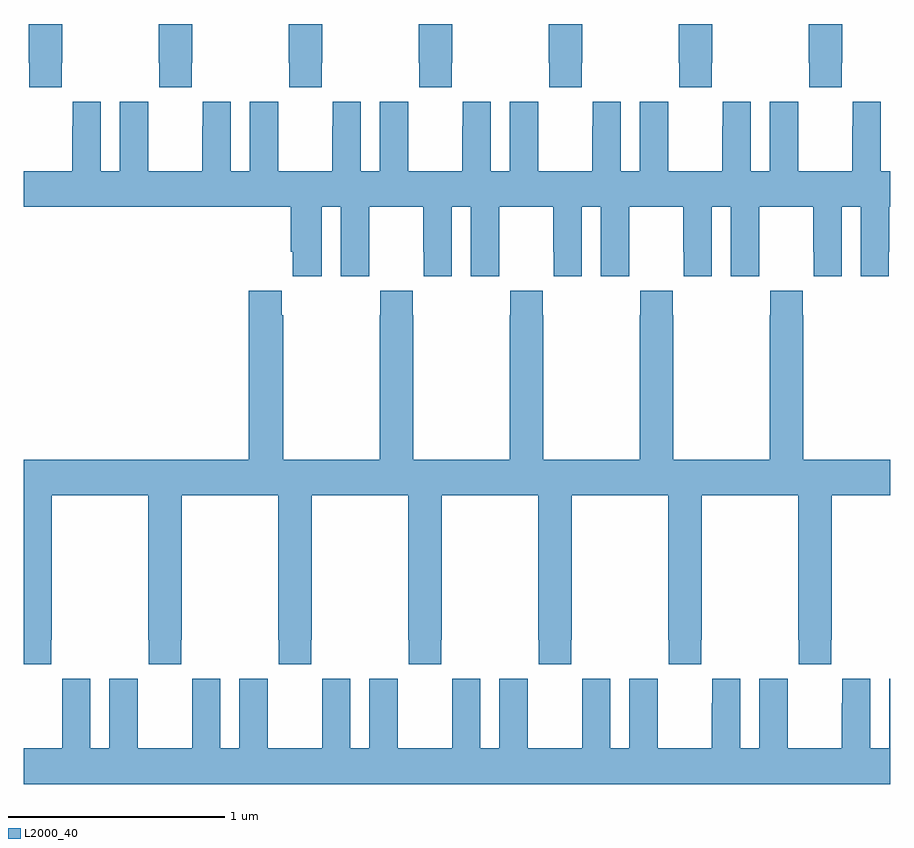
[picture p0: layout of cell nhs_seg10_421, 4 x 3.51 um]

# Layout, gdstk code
import gdstk
lib = gdstk.Library(unit=1e-6, precision=1e-09)
def P(c, l, *ps):  # polygons
    for p in ps: c.add(gdstk.Polygon(p, *l))
L2000_40 = (2000, 40)

nhs_seg10_421 = lib.new_cell('nhs_seg10_421')
P(nhs_seg10_421, L2000_40, [(131.175,1294.321),(131.178,1294.321),(131.178,1294.5),(131.023,1294.5),(131.023,1294.321),(131.025,1294.321),(131.025,1294.209),(131.175,1294.209)],
  [(131.775,1294.321),(131.778,1294.321),(131.778,1294.5),(131.623,1294.5),(131.623,1294.321),(131.625,1294.321),(131.625,1294.209),(131.775,1294.209)],
  [(132.375,1294.321),(132.378,1294.321),(132.378,1294.5),(132.223,1294.5),(132.223,1294.321),(132.225,1294.321),(132.225,1294.209),(132.375,1294.209)],
  [(132.975,1294.321),(132.978,1294.321),(132.978,1294.5),(132.823,1294.5),(132.823,1294.321),(132.825,1294.321),(132.825,1294.209),(132.975,1294.209)],
  [(133.575,1294.321),(133.578,1294.321),(133.578,1294.5),(133.423,1294.5),(133.423,1294.321),(133.425,1294.321),(133.425,1294.209),(133.575,1294.209)],
  [(134.175,1294.321),(134.178,1294.321),(134.178,1294.5),(134.023,1294.5),(134.023,1294.321),(134.025,1294.321),(134.025,1294.209),(134.175,1294.209)],
  [(134.775,1294.321),(134.778,1294.321),(134.778,1294.5),(134.623,1294.5),(134.623,1294.321),(134.625,1294.321),(134.625,1294.209),(134.775,1294.209)],
  [(133.844,1294.141),(133.844,1293.82),(133.756,1293.82),(133.756,1294.141),(133.626,1294.141),(133.626,1294.028),(133.625,1294.028),(133.625,1293.82),(133.375,1293.82),(133.375,1294.028),(133.374,1294.028),(133.374,1294.141),(133.244,1294.141),(133.244,1293.82),(133.156,1293.82),(133.156,1294.141),(133.026,1294.141),(133.026,1294.028),(133.025,1294.028),(133.025,1293.82),(132.775,1293.82),(132.775,1294.028),(132.774,1294.028),(132.774,1294.141),(132.644,1294.141),(132.644,1293.82),(132.556,1293.82),(132.556,1294.141),(132.426,1294.141),(132.426,1294.028),(132.425,1294.028),(132.425,1293.82),(132.175,1293.82),(132.175,1294.028),(132.174,1294.028),(132.174,1294.141),(132.044,1294.141),(132.044,1293.82),(131.956,1293.82),(131.956,1294.141),(131.826,1294.141),(131.826,1294.028),(131.825,1294.028),(131.825,1293.82),(131.575,1293.82),(131.575,1294.028),(131.574,1294.028),(131.574,1294.141),(131.444,1294.141),(131.444,1293.82),(131.356,1293.82),(131.356,1294.141),(131.226,1294.141),(131.226,1294.028),(131.225,1294.028),(131.225,1293.82),(131,1293.82),(131,1293.656),(132.233,1293.656),(132.233,1293.448),(132.242,1293.448),(132.242,1293.336),(132.376,1293.336),(132.376,1293.656),(132.464,1293.656),(132.464,1293.336),(132.594,1293.336),(132.594,1293.448),(132.595,1293.448),(132.595,1293.656),(132.845,1293.656),(132.845,1293.448),(132.846,1293.448),(132.846,1293.336),(132.976,1293.336),(132.976,1293.656),(133.064,1293.656),(133.064,1293.336),(133.194,1293.336),(133.194,1293.448),(133.195,1293.448),(133.195,1293.656),(133.445,1293.656),(133.445,1293.448),(133.446,1293.448),(133.446,1293.336),(133.576,1293.336),(133.576,1293.656),(133.664,1293.656),(133.664,1293.336),(133.794,1293.336),(133.794,1293.448),(133.795,1293.448),(133.795,1293.656),(134.045,1293.656),(134.045,1293.448),(134.046,1293.448),(134.046,1293.336),(134.176,1293.336),(134.176,1293.656),(134.264,1293.656),(134.264,1293.336),(134.394,1293.336),(134.394,1293.448),(134.395,1293.448),(134.395,1293.656),(134.645,1293.656),(134.645,1293.448),(134.646,1293.448),(134.646,1293.336),(134.776,1293.336),(134.776,1293.656),(134.864,1293.656),(134.864,1293.336),(134.994,1293.336),(134.994,1293.448),(134.995,1293.448),(134.995,1293.656),(135,1293.656),(135,1293.82),(134.956,1293.82),(134.956,1294.141),(134.826,1294.141),(134.826,1294.028),(134.825,1294.028),(134.825,1293.82),(134.575,1293.82),(134.575,1294.028),(134.574,1294.028),(134.574,1294.141),(134.444,1294.141),(134.444,1293.82),(134.356,1293.82),(134.356,1294.141),(134.226,1294.141),(134.226,1294.028),(134.225,1294.028),(134.225,1293.82),(133.975,1293.82),(133.975,1294.028),(133.974,1294.028),(133.974,1294.141)],
  [(131.127,1291.657),(131.13,1291.657),(131.13,1292.324),(131.575,1292.324),(131.575,1291.657),(131.577,1291.657),(131.577,1291.545),(131.727,1291.545),(131.727,1291.657),(131.73,1291.657),(131.73,1292.324),(132.175,1292.324),(132.175,1291.657),(132.177,1291.657),(132.177,1291.545),(132.327,1291.545),(132.327,1291.657),(132.33,1291.657),(132.33,1292.324),(132.775,1292.324),(132.775,1291.657),(132.777,1291.657),(132.777,1291.545),(132.927,1291.545),(132.927,1291.657),(132.93,1291.657),(132.93,1292.324),(133.375,1292.324),(133.375,1291.657),(133.377,1291.657),(133.377,1291.545),(133.527,1291.545),(133.527,1291.657),(133.53,1291.657),(133.53,1292.324),(133.975,1292.324),(133.975,1291.657),(133.977,1291.657),(133.977,1291.545),(134.127,1291.545),(134.127,1291.657),(134.13,1291.657),(134.13,1292.324),(134.575,1292.324),(134.575,1291.657),(134.577,1291.657),(134.577,1291.545),(134.727,1291.545),(134.727,1291.657),(134.73,1291.657),(134.73,1292.324),(135,1292.324),(135,1292.488),(134.598,1292.488),(134.598,1293.155),(134.595,1293.155),(134.595,1293.268),(134.445,1293.268),(134.445,1293.155),(134.443,1293.155),(134.443,1292.488),(133.998,1292.488),(133.998,1293.155),(133.995,1293.155),(133.995,1293.268),(133.845,1293.268),(133.845,1293.155),(133.843,1293.155),(133.843,1292.488),(133.398,1292.488),(133.398,1293.155),(133.395,1293.155),(133.395,1293.268),(133.245,1293.268),(133.245,1293.155),(133.243,1293.155),(133.243,1292.488),(132.798,1292.488),(132.798,1293.155),(132.795,1293.155),(132.795,1293.268),(132.645,1293.268),(132.645,1293.155),(132.643,1293.155),(132.643,1292.488),(132.198,1292.488),(132.198,1293.155),(132.191,1293.155),(132.191,1293.268),(132.038,1293.268),(132.038,1292.488),(131,1292.488),(131,1291.545),(131.127,1291.545)],
  [(135,1291.477),(134.996,1291.477),(134.996,1291.156),(134.908,1291.156),(134.908,1291.477),(134.778,1291.477),(134.778,1291.364),(134.777,1291.364),(134.777,1291.156),(134.527,1291.156),(134.527,1291.364),(134.526,1291.364),(134.526,1291.477),(134.396,1291.477),(134.396,1291.156),(134.308,1291.156),(134.308,1291.477),(134.178,1291.477),(134.178,1291.364),(134.177,1291.364),(134.177,1291.156),(133.927,1291.156),(133.927,1291.364),(133.926,1291.364),(133.926,1291.477),(133.796,1291.477),(133.796,1291.156),(133.708,1291.156),(133.708,1291.477),(133.578,1291.477),(133.578,1291.364),(133.577,1291.364),(133.577,1291.156),(133.327,1291.156),(133.327,1291.364),(133.326,1291.364),(133.326,1291.477),(133.196,1291.477),(133.196,1291.156),(133.108,1291.156),(133.108,1291.477),(132.978,1291.477),(132.978,1291.364),(132.977,1291.364),(132.977,1291.156),(132.727,1291.156),(132.727,1291.364),(132.726,1291.364),(132.726,1291.477),(132.596,1291.477),(132.596,1291.156),(132.508,1291.156),(132.508,1291.477),(132.378,1291.477),(132.378,1291.364),(132.377,1291.364),(132.377,1291.156),(132.127,1291.156),(132.127,1291.364),(132.126,1291.364),(132.126,1291.477),(131.996,1291.477),(131.996,1291.156),(131.908,1291.156),(131.908,1291.477),(131.778,1291.477),(131.778,1291.364),(131.777,1291.364),(131.777,1291.156),(131.527,1291.156),(131.527,1291.364),(131.526,1291.364),(131.526,1291.477),(131.396,1291.477),(131.396,1291.156),(131.308,1291.156),(131.308,1291.477),(131.178,1291.477),(131.178,1291.364),(131.177,1291.364),(131.177,1291.156),(131,1291.156),(131,1290.992),(135,1290.992)])

lib.write_gds('nhs_seg10_421.gds')
